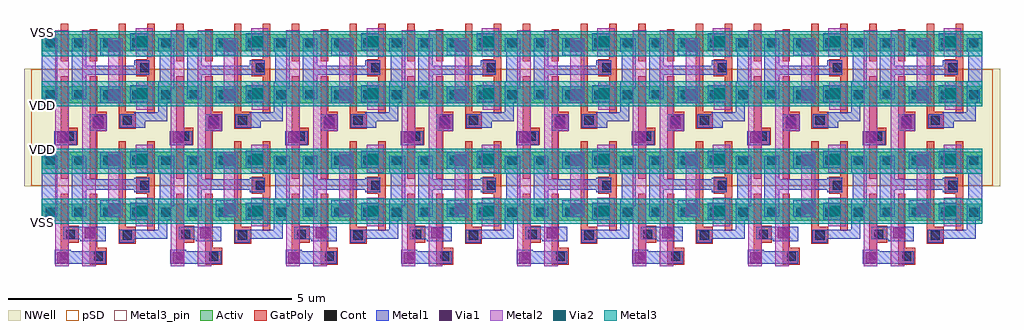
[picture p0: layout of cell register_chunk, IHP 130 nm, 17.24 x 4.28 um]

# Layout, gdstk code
import gdstk
lib = gdstk.Library(unit=1e-6, precision=1e-09)
def R(c, l, rs):  # rectangles x0, y0, x1, y1
    for r in rs: c.add(gdstk.rectangle(r[:2], r[2:], *l))
def A(c, l, x, y, w, h, nx, ny, dx, dy):  # array of equal rectangles
    R(c, l, [(x+i*dx, y+j*dy, x+i*dx+w, y+j*dy+h) for i in range(nx) for j in range(ny)])
def P(c, l, *ps):  # polygons
    for p in ps: c.add(gdstk.Polygon(p, *l))
Activ = (1, 0)
GatPoly = (5, 0)
Cont = (6, 0)
Metal1 = (8, 0)
Metal2 = (10, 0)
pSD = (14, 0)
Via1 = (19, 0)
Via2 = (29, 0)
Metal3 = (30, 0)
Metal3_pin = (30, 2)
NWell = (31, 0)

latch_element_2x = lib.new_cell('latch_element_2x')
R(latch_element_2x, GatPoly, [(0.11,3.525,0.24,4.185), (0.62,3.525,0.75,4.095)])
P(latch_element_2x, GatPoly, [(1.13,2.335),(1.13,4.185),(1.26,4.185),(1.26,2.635),(1.43,2.635),(1.43,2.335)],
  [(1.64,2.605),(1.64,3.265),(1.44,3.265),(1.44,3.565),(1.64,3.565),(1.64,4.185),(1.77,4.185),(1.77,2.605)],
  [(0.62,1.45),(0.62,3.265),(0.75,3.265),(0.75,2.635),(0.92,2.635),(0.92,2.335),(0.75,2.335),(0.75,1.45)],
  [(0.11,1.45),(0.11,3.265),(0.24,3.265),(0.24,2.35),(0.41,2.35),(0.41,2.05),(0.24,2.05),(0.24,1.45)],
  [(1.13,0.305),(1.13,2.11),(1.26,2.11),(1.26,0.605),(1.43,0.605),(1.43,0.305)],
  [(1.64,0.53),(1.64,1.19),(1.44,1.19),(1.44,1.49),(1.64,1.49),(1.64,2.11),(1.77,2.11),(1.77,0.53)],
  [(0.62,-0.07),(0.62,1.19),(0.75,1.19),(0.75,0.23),(0.92,0.23),(0.92,-0.07)],
  [(0.11,0.02),(0.11,1.19),(0.24,1.19),(0.24,0.62),(0.43,0.62),(0.43,0.32),(0.24,0.32),(0.24,0.02)])
A(latch_element_2x, Cont, 0.35, 0.78, 0.16, 0.16, 4, 2, 0.51, 0.92)
A(latch_element_2x, Cont, 0.35, 2.855, 0.16, 0.16, 4, 2, 0.51, 0.92)
R(latch_element_2x, Cont, [(0.69,0,0.85,0.16), (1.2,0.375,1.36,0.535), (0.2,0.39,0.36,0.55), (1.51,1.26,1.67,1.42), (0.18,2.12,0.34,2.28), (0.69,2.405,0.85,2.565), (1.2,2.405,1.36,2.565), (1.51,3.335,1.67,3.495)])
R(latch_element_2x, Metal1, [(1.34,0.73,1.65,1.03), (0.81,0.78,1.16,1.07), (0.81,1.63,1.16,1.93), (1.34,1.65,1.65,1.95), (-0.005,2.04,0.39,2.29), (0.62,2.295,0.92,2.595), (0.81,2.785,1.16,3.085), (1.34,2.805,1.65,3.105), (0.81,3.635,1.16,3.935), (1.34,3.725,1.65,4.025)])
P(latch_element_2x, Metal1, [(0.3,2.855),(0.3,3.935),(0.56,3.935),(0.56,3.45),(1.405,3.45),(1.405,3.545),(1.67,3.545),(1.67,3.285),(0.56,3.285),(0.56,2.855)],
  [(0,-0.05),(0,0.2),(0.29,0.2),(0.29,0.17),(0.9,0.17),(0.9,-0.05)],
  [(0.3,0.78),(0.3,1.86),(0.56,1.86),(0.56,1.445),(1.405,1.445),(1.405,1.47),(1.67,1.47),(1.67,1.21),(1.405,1.21),(1.405,1.255),(0.56,1.255),(0.56,0.78)],
  [(0.45,0.35),(0.45,0.38),(0.15,0.38),(0.15,0.6),(0.9,0.6),(0.9,0.35)],
  [(1.15,2.355),(1.15,2.595),(1.41,2.595),(1.41,2.625),(1.83,2.625),(1.83,3.16),(1.86,3.16),(1.86,3.695),(1.83,3.695),(1.83,3.935),(2.11,3.935),(2.11,3.04),(2.06,3.04),(2.06,2.805),(1.99,2.805),(1.99,2.465),(1.6,2.465),(1.6,2.355)],
  [(1.145,0.325),(1.145,0.55),(1.83,0.55),(1.83,1.085),(1.86,1.085),(1.86,1.565),(1.83,1.565),(1.83,1.86),(2.11,1.86),(2.11,0.965),(2.06,0.965),(2.06,0.73),(1.99,0.73),(1.99,0.39),(1.41,0.39),(1.41,0.325)])
R(latch_element_2x, Metal2, [(1.43,0.615,1.735,1.115), (0.95,0.77,1.2,1.925), (1.43,1.555,1.735,2.055), (1.44,2.67,1.745,3.17), (0.95,2.79,1.2,3.935), (1.43,3.61,1.735,4.11)])
P(latch_element_2x, Metal2, [(0.49,-0.09),(0.49,4.075),(0.73,4.075),(0.73,2.58),(0.915,2.58),(0.915,2.29),(0.73,2.29),(0.73,-0.09)],
  [(0.01,-0.09),(0.01,4.075),(0.105,4.075),(0.25,4.075),(0.25,-0.09)])
R(latch_element_2x, Via1, [(0.05,-0.04,0.24,0.15), (0.535,0.4,0.725,0.59), (1.45,0.785,1.64,0.975), (0.96,0.83,1.15,1.02), (0.96,1.685,1.15,1.875), (1.45,1.7,1.64,1.89), (0.05,2.09,0.24,2.28), (0.675,2.345,0.865,2.535), (0.96,2.84,1.15,3.03), (1.45,2.86,1.64,3.05), (0.96,3.695,1.15,3.885), (1.45,3.775,1.64,3.965)])
R(latch_element_2x, Via2, [(1.45,0.785,1.64,0.975), (1.45,1.7,1.64,1.89), (1.45,2.86,1.64,3.05), (1.45,3.775,1.64,3.965)])

register_chunk = lib.new_cell('register_chunk')
R(register_chunk, Activ, [(0,0,16.62,0.3), (0,0.92,16.62,1.22), (0,2.075,16.62,2.375), (0,2.995,16.62,3.295)])
R(register_chunk, Cont, [(0.07,0.07,0.23,0.23), (0.07,0.99,0.23,1.15), (0.07,2.145,0.23,2.305), (0.07,3.065,0.23,3.225)])
R(register_chunk, Metal1, [(0,0.07,0.28,1.15), (0,2.145,0.28,3.225)])
R(register_chunk, pSD, [(-0.18,0.62,16.8,2.675)])
R(register_chunk, Metal3, [(0,-0.05,16.62,0.39), (0,0.83,16.62,1.27), (0,2.025,16.62,2.465), (0,2.905,16.62,3.345)])
R(register_chunk, Metal3_pin, [(0,-0.05,16.62,0.39), (0,0.83,16.62,1.27), (0,2.025,16.62,2.465), (0,2.905,16.62,3.345)])
R(register_chunk, NWell, [(-0.31,0.61,16.93,2.685)])
r = gdstk.Reference(latch_element_2x, (0.23,-0.71)); r.repetition = gdstk.Repetition(8, 1, v1=(2.04,0), v2=(0,0)); register_chunk.add(r)
register_chunk.add(gdstk.Label('VDD', (0.01,1.255), layer=30, texttype=25))
register_chunk.add(gdstk.Label('VSS', (0.02,-0.03), layer=30, texttype=25))
register_chunk.add(gdstk.Label('VDD', (0.01,2.035), layer=30, texttype=25))
register_chunk.add(gdstk.Label('VSS', (0.01,3.32), layer=30, texttype=25))

lib.write_gds('register_chunk.gds')
